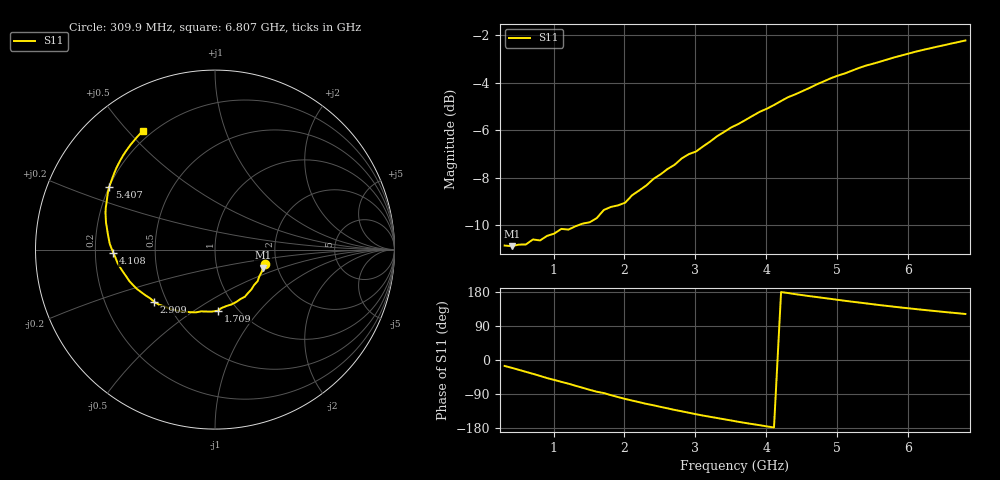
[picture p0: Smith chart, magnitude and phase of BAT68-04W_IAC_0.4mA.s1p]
! Infineon Technologies  Discrete & RF Semiconductors
! BAT68-04W
! IAC = 0.4 mA
! One-Port S-Parameters
# Hz  S  MA  R  50
!f  S11
!Hz  Mag  Ang
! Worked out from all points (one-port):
!   66 points, 309.9 MHz to 6.807 GHz, reference 50 ohm
!   lowest |S11| = -10.9 dB at 409.8 MHz (marker M1), VSWR 1.80, Z = 84 - j18.4 ohm
!   |S11| at or under -10 dB: start of sweep to 1.342 GHz
!   S11 on the Smith chart (normalised r, x): 309.9 MHz: 1.73, -0.29; 1.709 GHz: 0.82, -0.63; 2.909 GHz: 0.43, -0.31; 4.108 GHz: 0.28, -0.02; 5.407 GHz: 0.20, +0.26; 6.807 GHz: 0.17, +0.55
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3.0985e8  0.2869 -15.7
4.098e8  0.286 -20.6
6.097e8  0.2884 -31.2
7.0965e8  0.2955 -36.5
8.096e8  0.294 -42.0
1.10945e9  0.3109 -57.7
1.2094e9  0.3099 -62.4
1.50925e9  0.321 -78.8
1.6092e9  0.3276 -83.7
1.70915e9  0.3408 -87.3
2.009e9  0.3529 -102.7
2.10895e9  0.366 -107.1
2.4088e9  0.396 -119.5
2.8086e9  0.4374 -135.4
2.90855e9  0.4465 -139.2
3.0085e9  0.452 -143.1
3.30835e9  0.487 -153.2
3.6082e9  0.5166 -163.1
3.90805e9  0.5479 -172.1
4.10795e9  0.566 -178.1
4.4078e9  0.596 173.8
4.70765e9  0.6251 166.2
4.90755e9  0.6441 161.3
5.2074e9  0.6683 153.9
5.4073e9  0.6851 149.4
6.007e9  0.726 136.4
6.30685e9  0.7445 130.5
6.8066e9  0.7734 121.5
